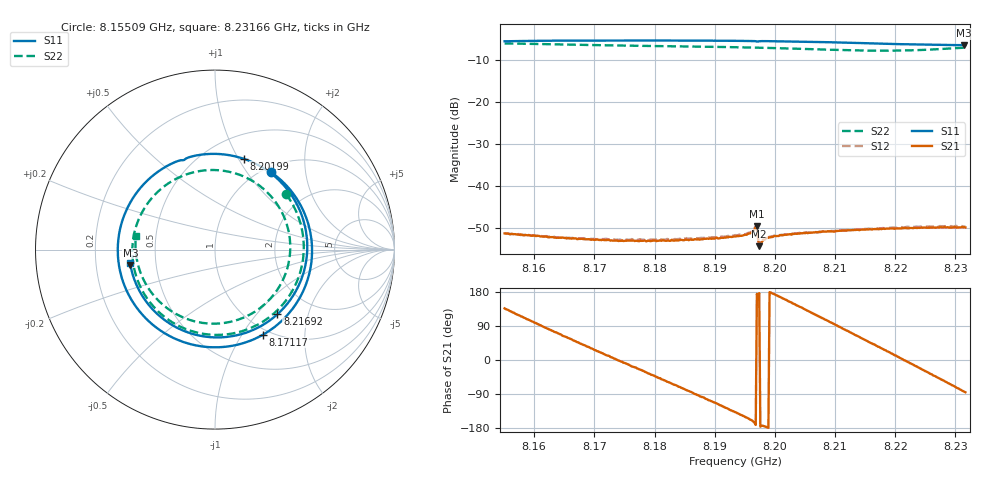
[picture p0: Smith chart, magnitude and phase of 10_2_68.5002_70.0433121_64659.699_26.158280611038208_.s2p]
#  HZ  S  RI  R  50.00
! Rohde & Schwarz Vector Network Analyzer
! Rohde-Schwarz,ZNB20-2Port,1311601062101988,3.16
! Created: UTC 3/20/2024, 5:04:08 PM
! freq[Hz]  re:S11  im:S11  re:S21  im:S21  re:S12  im:S12  re:S22  im:S22
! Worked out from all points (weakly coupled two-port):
!   401 points, 8.15509 GHz to 8.23166 GHz, reference 50 ohm
!   highest |S21| = -49.44 dB at 8.19701 GHz (marker M1); lowest = -54.2 dB at 8.19739 GHz (marker M2)
!   lowest |S11| = -6.4 dB at 8.23147 GHz (marker M3), VSWR 2.84, Z = 17.7 - j3.96 ohm
!   |S11| at or under -10 dB: nowhere
!   |S22| runs from -7.7 to -6.0 dB; largest |S21 - S12| = 0.00025
!   S11 on the Smith chart (normalised r, x): 8.15509 GHz: 1.08, +1.31; 8.17117 GHz: 0.93, -1.25; 8.20199 GHz: 0.75, +1.05; 8.21692 GHz: 1.35, -1.30; 8.23166 GHz: 0.35, -0.07
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8.15509e9  0.3102 0.4327  -0.00199 0.00191  -0.00197 0.00193  0.3965 0.3079
8.161598e9  0.5351 0.0722  0.000122 0.00252  0.000107 0.00253  0.4877 -0.0694
8.167915e9  0.4328 -0.3291  0.00178 0.00159  0.00178 0.00159  0.2966 -0.3811
8.171169e9  0.2681 -0.4737  0.00217 0.000751  0.00221 0.000783  0.1263 -0.461
8.175955e9  -0.0463 -0.5425  0.00219 -0.000574  0.00225 -0.000544  -0.1437 -0.4495
8.18074e9  -0.3465 -0.4189  0.00151 -0.00166  0.00155 -0.00176  -0.3611 -0.2954
8.187057e9  -0.5406 -0.0383  -9.31e-05 -0.00233  -0.000145 -0.00242  -0.4588 0.0344
8.193374e9  -0.3951 0.3667  -0.00186 -0.00171  -0.00199 -0.00172  -0.3003 0.3388
8.196628e9  -0.2043 0.4944  -0.00296 -0.000767  -0.00313 -0.000661  -0.1406 0.425
8.197011e9  -0.1771 0.4981  -0.00336 0.000309  -0.00342 0.00046  -0.1197 0.4306
8.197394e9  -0.1606 0.5079  -0.00194 0.000125  -0.00194 0.000173  -0.0989 0.4353
8.197777e9  -0.1334 0.5178  -0.00214 -0.000223  -0.00219 -0.000167  -0.0774 0.4389
8.201988e9  0.1615 0.5055  -0.00246 0.001  -0.00242 0.00115  0.1576 0.4085
8.206199e9  0.4024 0.3359  -0.00156 0.00233  -0.0015 0.00238  0.3447 0.2551
8.211559e9  0.5128 -0.0211  0.000479 0.00295  0.000526 0.00293  0.4144 -0.0518
8.216919e9  0.3482 -0.3598  0.00246 0.00187  0.00257 0.00186  0.2428 -0.332
8.219024e9  0.2215 -0.4436  0.00293 0.00111  0.00305 0.000987  0.121 -0.393
8.221896e9  0.0202 -0.4893  0.00317 -0.000204  0.00328 -0.000332  -0.0677 -0.4086
8.224767e9  -0.1822 -0.4491  0.00288 -0.00149  0.00286 -0.00167  -0.2483 -0.3392
8.228212e9  -0.3771 -0.298  0.00183 -0.00272  0.00174 -0.00287  -0.4014 -0.1604
8.231467e9  -0.4712 -0.086  0.000382 -0.00325  0.000179 -0.00333  -0.4422 0.0618
8.231658e9  -0.4735 -0.0726  0.00028 -0.00323  0.000105 -0.00332  -0.4411 0.0753
